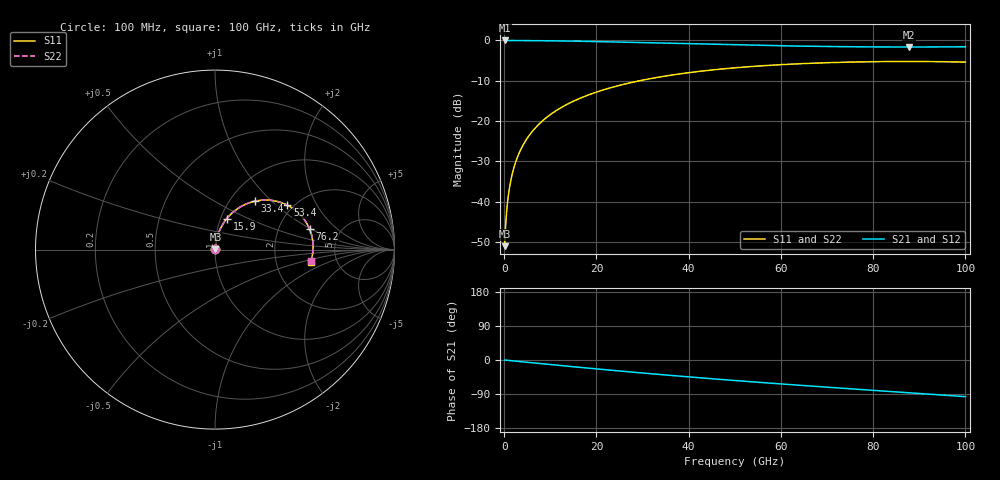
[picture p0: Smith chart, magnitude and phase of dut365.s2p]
! Touchstone file exported from HFSS 2026.1.0
!  File:  C:/ffzhzh/LocalFiles/Ansys_Project_Files/temp_train_RDL_365_1783503459_31944.aedt
!  Generated:  05:38:53 PM Jul  8, 2026
!  Design:  RDL
!  Project:  temp_train_RDL_365_1783503459_31944
! Variables:
!  h_bsmrdl = 2um
!  h_ox = 20um
!  h_rdl = 5um
!  h_sub = 80um
!  h_tmrdl = 2.52um
!  h_tsv = 80um
!  h_via = 3um
!  l_bsmrdl = 300um
!  l_sub = 715.06um
!  l_tmrdl = 315.06um
!  m_sub = 200um
!  pitch = 42.55um
!  r_tsv = 6um
!  s_tmrdl = 10um
!  w_bsmrdl = 18um
!  w_sub = 500um
!  w_tmrdl = 20.35um
!  x_tsv_center1 = 325.235um
!  x_tsv_center2 = 643.235um
!  x_tsv_center3 = 978.645um
!  x_tsv_center4 = 1296.645um
!  x_tsv_center5 = 1632.055um
!  x_tsv_center6 = 1950.055um
# GHz S MA R 50.000000
! Terminal data exported
! Port[1] = TM_RDL1_1_T1
! Port[2] = TM_RDL1_1_T2
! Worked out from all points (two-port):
!   1000 points, 100 MHz to 100 GHz, reference 50 ohm
!   highest |S21| = -0.02 dB at 100 MHz (marker M1); lowest = -1.6 dB at 87.7 GHz (marker M2)
!   |S21| within 3 dB of the highest: start of sweep to end of sweep
!   lowest |S11| = -51.1 dB at 100 MHz (marker M3), VSWR 1.01, Z = 50.2 + j0.136 ohm
!   |S11| at or under -10 dB: start of sweep to 29.44 GHz
!   |S22| runs from -51.1 to -5.2 dB; largest |S21 - S12| = 3.4e-15
!   S11 on the Smith chart (normalised r, x): 100 MHz: 1.00, +0.00; 15.9 GHz: 1.07, +0.38; 33.4 GHz: 1.29, +0.79; 53.4 GHz: 1.86, +1.18; 76.2 GHz: 3.00, +0.96; 100 GHz: 3.19, -0.61
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0.1  0.002794 29.1  0.9976 -0.1  0.9976 -0.1  0.002794 29.1
! Gamma 0 0 0 0
! Port Impedance 50 0 50 0
0.4  0.005924 62.5  0.9973 -0.5  0.9973 -0.5  0.005924 62.5
0.9  0.01178 74.1  0.9969 -1.1  0.9969 -1.1  0.01178 74.1
1.2  0.01533 76.8  0.9968 -1.5  0.9968 -1.5  0.01533 76.8
1.5  0.01891 78.5  0.9967 -1.8  0.9967 -1.8  0.01891 78.5
2  0.02491 80.0  0.9964 -2.4  0.9964 -2.4  0.02491 80.0
2.6  0.03214 80.8  0.9961 -3.2  0.9961 -3.2  0.03214 80.9
4  0.04903 80.9  0.9952 -4.9  0.9952 -4.9  0.04903 81.0
6  0.07298 79.6  0.9933 -7.3  0.9933 -7.3  0.07298 79.6
8.6  0.1036 77.1  0.99 -10.4  0.99 -10.4  0.1036 77.1
11.9  0.1414 73.5  0.9844 -14.2  0.9844 -14.2  0.1414 73.5
15.9  0.1853 69.1  0.9761 -18.9  0.9761 -18.9  0.1853 69.1
16.8  0.1949 68.1  0.9741 -19.9  0.9741 -19.9  0.1949 68.2
24.2  0.269 60.1  0.955 -28.1  0.955 -28.1  0.269 60.2
33.4  0.3488 50.6  0.9281 -37.9  0.9281 -37.9  0.3488 50.7
50.1  0.4568 34.6  0.8799 -54.2  0.8799 -54.2  0.4568 34.7
53.4  0.4727 31.6  0.8715 -57.3  0.8715 -57.3  0.4726 31.7
66.7  0.5203 20.0  0.8443 -69.0  0.8443 -69.0  0.5202 20.2
76.2  0.5394 12.2  0.8324 -77.0  0.8324 -77.0  0.5393 12.4
83.4  0.5462 6.3  0.8279 -82.9  0.8279 -82.9  0.5461 6.5
87.7  0.5472 2.8  0.8272 -86.5  0.8272 -86.5  0.5471 3.0
100  0.5373 -7.3  0.8331 -96.7  0.8331 -96.7  0.5372 -7.0
